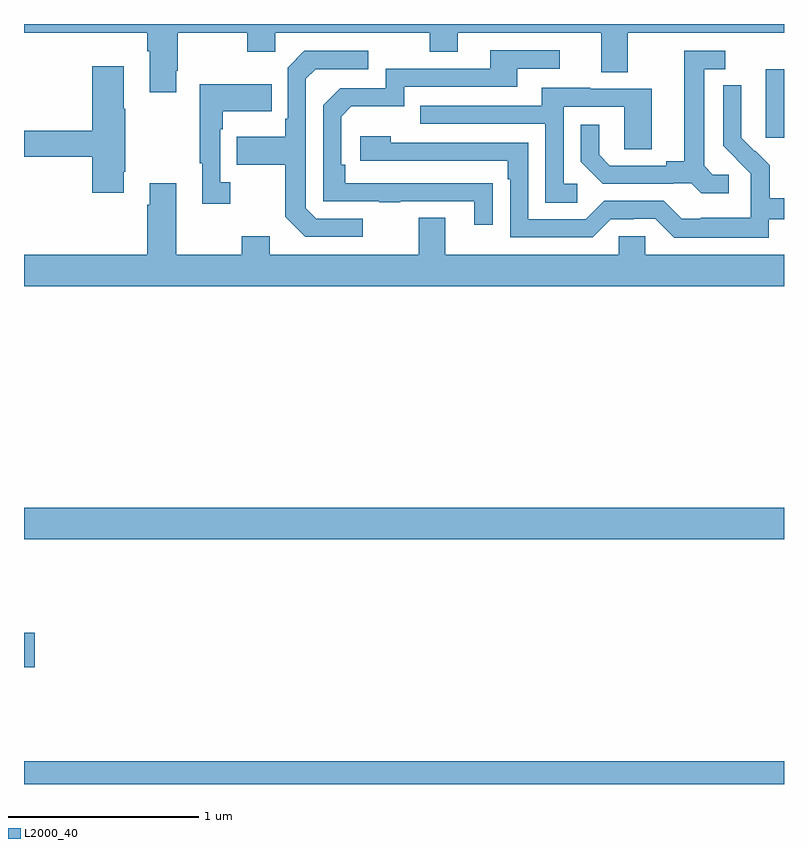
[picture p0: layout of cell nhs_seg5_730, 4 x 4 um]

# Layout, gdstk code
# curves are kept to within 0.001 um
import gdstk
lib = gdstk.Library(unit=1e-6, precision=1e-09)
def R(c, l, rs):  # rectangles x0, y0, x1, y1
    for r in rs: c.add(gdstk.rectangle(r[:2], r[2:], *l))
def P(c, l, *ps):  # polygons
    for p in ps: c.add(gdstk.Polygon(p, *l))
L2000_40 = (2000, 40)

nhs_seg5_730 = lib.new_cell('nhs_seg5_730')
R(nhs_seg5_730, L2000_40, [(157,860.799,161,860.92), (157,861.413,157.057,861.596), (157,862.088,161,862.252), (160.904,864.201,161,864.562)])
P(nhs_seg5_730, L2000_40, [(157.801,864.553),(157.809,864.553),(157.809,864.752),(158.176,864.752),(158.176,864.653),(158.322,864.653),(158.322,864.752),(159.136,864.752),(159.136,864.653),(159.283,864.653),(159.283,864.752),(160.037,864.752),(160.037,864.544),(160.177,864.544),(160.177,864.752),(161,864.752),(161,864.799),(157,864.799),(157,864.752),(157.649,864.752),(157.649,864.656),(157.661,864.656),(157.661,864.441),(157.801,864.441)],
  [(159.467,863.96),(158.69,863.961),(158.69,864.058),(158.67,864.058),(158.67,864.312),(158.723,864.365),(159,864.365),(159,864.468),(159.595,864.468),(159.595,864.564),(159.82,864.564),(159.82,864.66),(159.455,864.66),(159.455,864.564),(158.904,864.564),(158.904,864.462),(158.664,864.462),(158.574,864.372),(158.574,863.865),(158.869,863.865),(158.869,863.86),(158.981,863.86),(158.981,863.865),(159.371,863.865),(159.371,863.742),(159.467,863.742)],
  [(160.708,864.006),(160.626,864.006),(160.579,864.053),(160.579,864.561),(160.69,864.561),(160.69,864.657),(160.475,864.657),(160.475,864.077),(160.379,864.077),(160.379,864.054),(160.084,864.054),(160.027,864.111),(160.027,864.268),(159.93,864.268),(159.93,864.074),(160.046,863.958),(160.418,863.958),(160.418,863.961),(160.512,863.961),(160.564,863.909),(160.708,863.909)],
  [(158.782,863.775),(158.538,863.775),(158.484,863.829),(158.484,864.51),(158.535,864.561),(158.812,864.561),(158.812,864.657),(158.475,864.657),(158.388,864.57),(158.388,864.301),(158.376,864.301),(158.376,864.205),(158.119,864.205),(158.119,864.058),(158.376,864.058),(158.376,863.785),(158.481,863.679),(158.782,863.679)],
  [(157.525,864.022),(157.533,864.022),(157.533,864.353),(157.525,864.353),(157.525,864.577),(157.358,864.577),(157.358,864.236),(157,864.236),(157,864.1),(157.358,864.1),(157.358,863.91),(157.525,863.91)],
  [(158.086,863.966),(158.034,863.966),(158.034,864.245),(158.047,864.245),(158.047,864.341),(158.303,864.341),(158.303,864.481),(157.926,864.481),(157.926,864.065),(157.937,864.065),(157.937,863.853),(158.086,863.853)],
  [(160.92,863.772),(161,863.772),(161,863.881),(160.925,863.881),(160.925,864.055),(160.848,864.132),(160.845,864.129),(160.775,864.2),(160.776,864.476),(160.68,864.476),(160.68,864.158),(160.826,864.01),(160.826,863.913),(160.824,863.913),(160.824,863.779),(160.561,863.779),(160.561,863.775),(160.461,863.775),(160.368,863.868),(160.053,863.868),(159.957,863.772),(159.654,863.772),(159.654,864.174),(158.93,864.174),(158.93,864.208),(158.769,864.208),(158.769,864.078),(159.545,864.078),(159.545,863.981),(159.558,863.981),(159.558,863.676),(159.993,863.676),(160.089,863.772),(160.208,863.772),(160.208,863.775),(160.323,863.775),(160.423,863.675),(160.92,863.675)],
  [(159.913,863.958),(159.84,863.958),(159.84,864.363),(160.158,864.363),(160.158,864.139),(160.303,864.139),(160.303,864.459),(159.979,864.459),(159.979,864.463),(159.725,864.463),(159.725,864.369),(159.085,864.369),(159.085,864.273),(159.744,864.273),(159.744,863.857),(159.913,863.857)],
  [(161,863.584),(160.269,863.584),(160.269,863.682),(160.131,863.682),(160.131,863.584),(159.217,863.584),(159.217,863.779),(159.077,863.779),(159.077,863.584),(158.293,863.584),(158.293,863.683),(158.146,863.683),(158.146,863.584),(157.801,863.584),(157.801,863.962),(157.661,863.962),(157.661,863.849),(157.649,863.849),(157.649,863.584),(157,863.584),(157,863.42),(161,863.42)])

lib.write_gds('nhs_seg5_730.gds')
